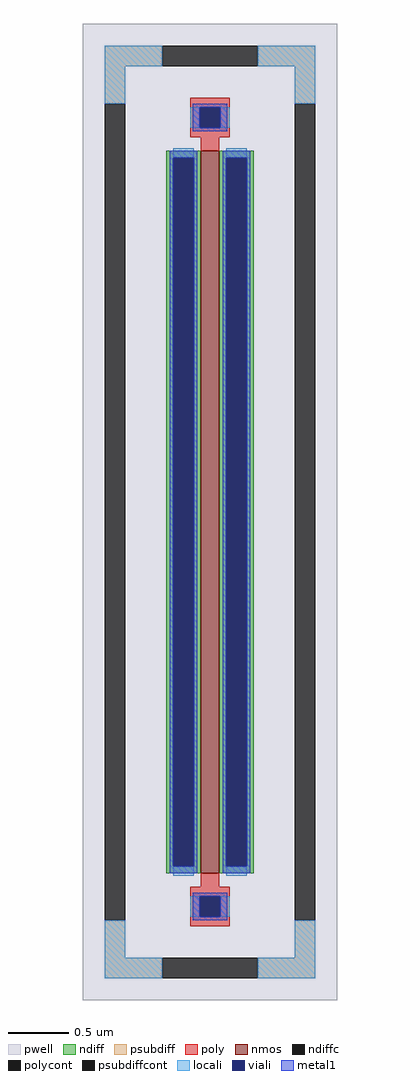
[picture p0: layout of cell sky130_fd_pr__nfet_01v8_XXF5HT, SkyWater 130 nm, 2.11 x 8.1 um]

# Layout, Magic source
magic
tech sky130A
magscale 1 2
<< pwell >>
rect -211 -810 211 810
<< nmos >>
rect -15 -600 15 600
<< ndiff >>
rect -73 588 -15 600
rect -73 -588 -61 588
rect -27 -588 -15 588
rect -73 -600 -15 -588
rect 15 588 73 600
rect 15 -588 27 588
rect 61 -588 73 588
rect 15 -600 73 -588
<< ndiffc >>
rect -61 -588 -27 588
rect 27 -588 61 588
<< psubdiff >>
rect -175 740 -79 774
rect 79 740 175 774
rect -175 678 -141 740
rect 141 678 175 740
rect -175 -740 -141 -678
rect 141 -740 175 -678
rect -175 -774 -79 -740
rect 79 -774 175 -740
<< psubdiffcont >>
rect -79 740 79 774
rect -175 -678 -141 678
rect 141 -678 175 678
rect -79 -774 79 -740
<< poly >>
rect -33 672 33 688
rect -33 638 -17 672
rect 17 638 33 672
rect -33 622 33 638
rect -15 600 15 622
rect -15 -622 15 -600
rect -33 -638 33 -622
rect -33 -672 -17 -638
rect 17 -672 33 -638
rect -33 -688 33 -672
<< polycont >>
rect -17 638 17 672
rect -17 -672 17 -638
<< locali >>
rect -175 740 -79 774
rect 79 740 175 774
rect -175 678 -141 740
rect 141 678 175 740
rect -33 638 -17 672
rect 17 638 33 672
rect -61 588 -27 604
rect -61 -604 -27 -588
rect 27 588 61 604
rect 27 -604 61 -588
rect -33 -672 -17 -638
rect 17 -672 33 -638
rect -175 -740 -141 -678
rect 141 -740 175 -678
rect -175 -774 -79 -740
rect 79 -774 175 -740
<< viali >>
rect -17 638 17 672
rect -61 -588 -27 588
rect 27 -588 61 588
rect -17 -672 17 -638
<< metal1 >>
rect -29 672 29 678
rect -29 638 -17 672
rect 17 638 29 672
rect -29 632 29 638
rect -67 588 -21 600
rect -67 -588 -61 588
rect -27 -588 -21 588
rect -67 -600 -21 -588
rect 21 588 67 600
rect 21 -588 27 588
rect 61 -588 67 588
rect 21 -600 67 -588
rect -29 -638 29 -632
rect -29 -672 -17 -638
rect 17 -672 29 -638
rect -29 -678 29 -672
<< properties >>
string FIXED_BBOX -158 -757 158 757
string gencell sky130_fd_pr__nfet_01v8
string library sky130
string parameters w 6.0 l 0.15 m 1 nf 1 diffcov 100 polycov 100 guard 1 glc 1 grc 1 gtc 1 gbc 1 tbcov 100 rlcov 100 topc 1 botc 1 poverlap 0 doverlap 1 lmin 0.15 wmin 0.42 compatible {sky130_fd_pr__nfet_01v8 sky130_fd_pr__nfet_01v8_lvt  sky130_fd_bs_flash__special_sonosfet_star  sky130_fd_pr__nfet_g5v0d10v5 sky130_fd_pr__nfet_05v0_nvt  sky130_fd_pr__nfet_03v3_nvt} full_metal 1 viasrc 100 viadrn 100 viagate 100 viagb 0 viagr 0 viagl 0 viagt 0
<< end >>
